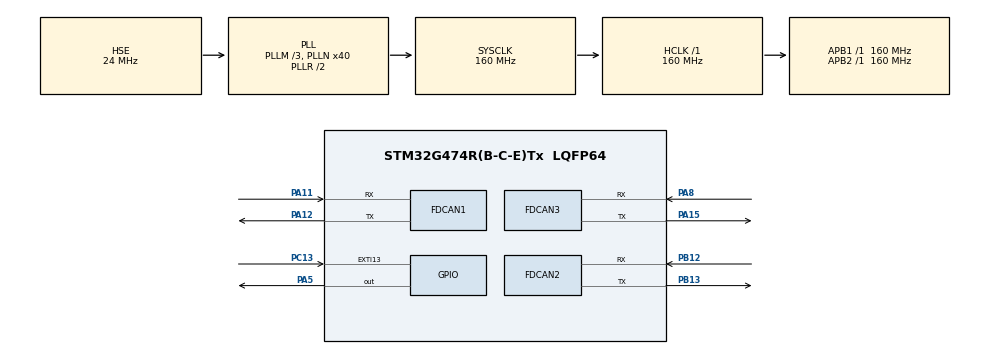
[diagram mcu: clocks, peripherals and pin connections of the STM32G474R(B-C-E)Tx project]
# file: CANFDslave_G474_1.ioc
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FDCAN1.CalculateBaudRateNominal=1000000
FDCAN1.CalculateTimeBitNominal=1000
FDCAN1.CalculateTimeQuantumNominal=50.0
FDCAN1.DataPrescaler=1
FDCAN1.DataSyncJumpWidth=2
FDCAN1.DataTimeSeg1=13
FDCAN1.DataTimeSeg2=2
FDCAN1.FrameFormat=FDCAN_FRAME_FD_BRS
FDCAN1.NominalPrescaler=4
FDCAN1.NominalSyncJumpWidth=4
FDCAN1.NominalTimeSeg1=15
FDCAN1.NominalTimeSeg2=4
FDCAN1.ProtocolException=ENABLE
FDCAN1.StdFiltersNbr=1
FDCAN2.CalculateBaudRateNominal=1000000
FDCAN2.CalculateTimeBitNominal=1000
FDCAN2.CalculateTimeQuantumNominal=50.0
FDCAN2.DataPrescaler=1
FDCAN2.DataSyncJumpWidth=2
FDCAN2.DataTimeSeg1=13
FDCAN2.DataTimeSeg2=2
FDCAN2.FrameFormat=FDCAN_FRAME_FD_BRS
FDCAN2.NominalPrescaler=4
FDCAN2.NominalSyncJumpWidth=4
FDCAN2.NominalTimeSeg1=15
FDCAN2.NominalTimeSeg2=4
FDCAN2.ProtocolException=ENABLE
FDCAN2.StdFiltersNbr=1
FDCAN3.CalculateBaudRateNominal=1000000
FDCAN3.CalculateTimeBitNominal=1000
FDCAN3.CalculateTimeQuantumNominal=50.0
FDCAN3.DataPrescaler=1
FDCAN3.DataSyncJumpWidth=2
FDCAN3.DataTimeSeg1=13
FDCAN3.DataTimeSeg2=2
FDCAN3.FrameFormat=FDCAN_FRAME_FD_BRS
FDCAN3.NominalPrescaler=4
FDCAN3.NominalSyncJumpWidth=4
FDCAN3.NominalTimeSeg1=15
FDCAN3.NominalTimeSeg2=4
FDCAN3.ProtocolException=ENABLE
FDCAN3.StdFiltersNbr=1
Mcu.Family=STM32G4
Mcu.Name=STM32G474R(B-C-E)Tx
Mcu.Package=LQFP64
NUCLEO-G474RE.BUTTON=1
NUCLEO-G474RE.Bsp_Common_DEMO=true
NUCLEO-G474RE.LD2=true
NUCLEO-G474RE.VCP=true
NVIC.EXTI15_10_IRQn=true\:0\:0\:false\:false\:true\:true\:true\:true
NVIC.FDCAN1_IT0_IRQn=true\:0\:0\:false\:false\:true\:true\:true\:true
NVIC.FDCAN1_IT1_IRQn=true\:0\:0\:false\:false\:true\:true\:true\:true
NVIC.FDCAN2_IT0_IRQn=true\:0\:0\:false\:false\:true\:true\:true\:true
NVIC.FDCAN2_IT1_IRQn=true\:0\:0\:false\:false\:true\:true\:true\:true
NVIC.FDCAN3_IT0_IRQn=true\:0\:0\:false\:false\:true\:true\:true\:true
NVIC.FDCAN3_IT1_IRQn=true\:0\:0\:false\:false\:true\:true\:true\:true
NVIC.PriorityGroup=NVIC_PRIORITYGROUP_4
NVIC.RCC_IRQn=true\:0\:0\:false\:false\:true\:true\:false\:true
NVIC.TIM2_IRQn=true\:0\:0\:false\:false\:true\:true\:true\:true
PA11.Mode=FDCAN_Activate
PA11.Signal=FDCAN1_RX
PA12.Mode=FDCAN_Activate
PA12.Signal=FDCAN1_TX
PA13.GPIO_Label=T_SWDIO
PA13.Mode=Serial_Wire
PA13.Signal=SYS_JTMS-SWDIO
PA14.GPIO_Label=T_SWCLK
PA14.Mode=Serial_Wire
PA14.Signal=SYS_JTCK-SWCLK
PA15.Mode=FDCAN_Activate
PA15.Signal=FDCAN3_TX
PA2.Signal=LPUART1_TX
PA3.Signal=LPUART1_RX
PA5.Signal=GPIO_Output
PA8.Mode=FDCAN_Activate
PA8.Signal=FDCAN3_RX
PB12.Mode=FDCAN_Activate
PB12.Signal=FDCAN2_RX
PB13.Mode=FDCAN_Activate
PB13.Signal=FDCAN2_TX
PB3.GPIO_Label=T_SWO
PB3.Signal=SYS_JTDO-SWO
PC13.Signal=GPXTI13
PC14-OSC32_IN.GPIO_Label=RCC_OSC32_IN
PC14-OSC32_IN.Mode=LSE-External-Oscillator
PC14-OSC32_IN.Signal=RCC_OSC32_IN
PC15-OSC32_OUT.GPIO_Label=RCC_OSC32_OUT
PC15-OSC32_OUT.Mode=LSE-External-Oscillator
PC15-OSC32_OUT.Signal=RCC_OSC32_OUT
PF0-OSC_IN.GPIO_Label=RCC_OSC_IN
PF0-OSC_IN.Mode=HSE-External-Oscillator
PF0-OSC_IN.Signal=RCC_OSC_IN
PF1-OSC_OUT.GPIO_Label=RCC_OSC_OUT
PF1-OSC_OUT.Mode=HSE-External-Oscillator
PF1-OSC_OUT.Signal=RCC_OSC_OUT
ProjectManager.HeapSize=0x200
ProjectManager.StackSize=0x400
ProjectManager.TargetToolchain=STM32CubeIDE
RCC.ADC12Freq_Value=160000000
RCC.ADC345Freq_Value=160000000
RCC.AHBFreq_Value=160000000
RCC.APB1Freq_Value=160000000
RCC.APB1TimFreq_Value=160000000
RCC.APB2Freq_Value=160000000
RCC.APB2TimFreq_Value=160000000
RCC.CortexFreq_Value=160000000
RCC.EXTERNAL_CLOCK_VALUE=12288000
RCC.FDCANCLockSelection=RCC_FDCANCLKSOURCE_PLL
RCC.HCLKFreq_Value=160000000
RCC.HSE_VALUE=24000000
RCC.HSI48_VALUE=48000000
RCC.HSI_VALUE=16000000
RCC.PLLM=RCC_PLLM_DIV3
RCC.PLLN=40
RCC.PLLQ=RCC_PLLQ_DIV4
RCC.PLLSourceVirtual=RCC_PLLSOURCE_HSE
RCC.RTCClockSelection=RCC_RTCCLKSOURCE_LSE
RCC.SYSCLKFreq_VALUE=160000000
RCC.SYSCLKSource=RCC_SYSCLKSOURCE_PLLCLK
RCC.USBFreq_Value=80000000
RCC.VCOOutputFreq_Value=320000000
TIM2.Prescaler=169
VP_NUCLEO-G474RE_VS_BSP_COMMON.Mode=COMMON
VP_SYS_VS_DBSignals.Mode=DisableDeadBatterySignals
VP_TIM2_VS_ClockSourceINT.Mode=Internal
VP_TIM2_VS_ClockSourceITR.Mode=TriggerSource_ITR0
board=NUCLEO-G474RE

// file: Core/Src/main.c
/* USER CODE BEGIN Header */
/**
  ******************************************************************************
  * @file           : main.c
  * @brief          : Main program body
  ******************************************************************************
  * @attention
  *
  * Copyright (c) 2025 STMicroelectronics.
  * All rights reserved.
  *
  * This software is licensed under terms that can be found in the LICENSE file
  * in the root directory of this software component.
  * If no LICENSE file comes with this software, it is provided AS-IS.
  *
  ******************************************************************************
  */
/* USER CODE END Header */
#include "main.h"
#include "fdcan.h"
#include "tim.h"
#include "gpio.h"

/* USER CODE BEGIN Includes */
#include <stdio.h>
#include <string.h>
/* USER CODE END Includes */

/* USER CODE BEGIN PD */
#define DEBUG_MODE
#define SystemCoreClock_Hz  160000000U
#define FDCAN_PCLK_Hz       80000000U
#define MegaUnit            1000000U

#define MASTER_ID          0x100

#define SLAVE_ID_BASE      0x200
#define SLAVE_ID_END       0x2FF
#define SLAVE_ID_ECHO      0x300

// CAN slave ID는 0x200 + 지정된 node 번호를 부여
// node1: 0x201, node2: 0x202, ...
// 노드 번호를 매크로로 보드마다 지정
// 자동화된 형태로 SLAVE_ID를 설정하도록 하는 방법 알려줘
#ifndef NODE_NUMBER
  #define NODE_NUMBER  1U // 기본값 1, 빌드 시 -DNODE_NUMBER=x 로 변경 가능
#endif
#define SLAVE_ID         (SLAVE_ID_BASE + NODE_NUMBER)
/* Example: NODE_NUMBER가 3으로 설정된 경우 SLAVE_ID는 0x203이 됨 */
/* Example: NODE_NUMBER가 5으로 설정된 경우 SLAVE_ID는 0x205이 됨 */
// SLAVE_ID가 SLAVE_ID_END를 초과하지 않도록 주의 필요
#if SLAVE_ID > SLAVE_ID_END
  #error "SLAVE_ID exceeds the maximum allowed value. Please check NODE_NUMBER."
#endif

/* USER CODE END PD */

COM_InitTypeDef BspCOMInit;
__IO uint32_t BspButtonState = BUTTON_RELEASED;

/* USER CODE BEGIN PV */
FDCAN_TxHeaderTypeDef TxHeader;
FDCAN_RxHeaderTypeDef RxHeader;

uint8_t TxData[16] = { 0x55, 0xAA, 0x55, 0xAA, 0x55, 0xAA, 0x55, 0xAA, 0x55,
    0xAA, 0x55, 0xAA, 0x55, 0xAA, 0x55, 0xAA };
uint8_t RxData[16] = { 0 };

__IO uint8_t TxCompleteFlag = 0;
__IO uint8_t RxCompleteFlag = 0;

uint32_t tmpCount = 0;

FDCAN_ErrorCountersTypeDef FDCAN_ErrorCount_slave;
FDCAN_ProtocolStatusTypeDef FDCAN_ProtocolStatus_slave;
/* USER CODE END PV */

void SystemClock_Config(void);
/* USER CODE BEGIN PFP */
void canSetInitFilter(void);
void canSetInitInterrupts(void);
void canSetInitTxHeader(void);
void canSetInitTxPayload(void);
void canStart(void);

ErrorStatus canDiagnoseStatus(FDCAN_HandleTypeDef *hfdcan);
HAL_StatusTypeDef canSetupDebugNotifications(FDCAN_HandleTypeDef *hfdcan);
/* USER CODE END PFP */

int main(void)
{

  /* MCU Configuration--------------------------------------------------------*/

  /* Reset of all peripherals, Initializes the Flash interface and the Systick. */
  HAL_Init();

  /* Configure the system clock */
  SystemClock_Config();

  /* Initialize all configured peripherals */
  MX_GPIO_Init();
  MX_FDCAN1_Init();
  MX_FDCAN2_Init();
  MX_TIM2_Init();
  MX_FDCAN3_Init();

  /* Initialize led */
  BSP_LED_Init(LED_GREEN);

  /* Initialize USER push-button, will be used to trigger an interrupt each time it's pressed.*/
  BSP_PB_Init(BUTTON_USER, BUTTON_MODE_EXTI);

  /* Initialize COM1 port (115200, 8 bits (7-bit data + 1 stop bit), no parity */
  BspCOMInit.BaudRate   = 115200;
  BspCOMInit.WordLength = COM_WORDLENGTH_8B;
  BspCOMInit.StopBits   = COM_STOPBITS_1;
  BspCOMInit.Parity     = COM_PARITY_NONE;
  BspCOMInit.HwFlowCtl  = COM_HWCONTROL_NONE;
  if (BSP_COM_Init(COM1, &BspCOMInit) != BSP_ERROR_NONE)
  {
    Error_Handler();
  }

  /* USER CODE BEGIN BSP */

  /* -- Sample board code to send message over COM1 port ---- */
  printf("Welcome to STM32 world !\r\n");

  /* -- Sample board code to switch on led ---- */
  BSP_LED_On(LED_GREEN);

  /* USER CODE END BSP */

  /* Infinite loop */
  /* USER CODE BEGIN WHILE */
  uint32_t tmpSystemClock = HAL_RCC_GetSysClockFreq();
  uint32_t tmpPeripheralClock = HAL_RCCEx_GetPeriphCLKFreq(RCC_PERIPHCLK_FDCAN);

  printf("System Clock frequency = %lu MHz\r\n", tmpSystemClock / 1000000);
  printf("FDCAN Peripheral Clock frequency = %lu MHz\r\n", tmpPeripheralClock / 1000000);
  HAL_Delay(10);

  /* --- Configure FDCAN1 --- */
  /* Configure FDCAN1 filters */
  canSetInitFilter();
  /* Configure FDCAN1 interrupts */
  canSetInitInterrupts();
  /* Configure Tx Headers */
  canSetInitTxHeader();
  /* Configure Tx Payload */
  canSetInitTxPayload();

  /* Start FDCAN1 module */
  canStart();
  while (1)
  {
    /* USER CODE END WHILE */

    /* USER CODE BEGIN 3 */
    if(RxCompleteFlag) {
      RxCompleteFlag = 0;
      // 수신된 메시지 처리
      // 예: 수신된 데이터 출력
      tmpCount++;
      if(tmpCount % 500 == 0) {
        printf("[%lu] FDCAN1 Received ID: 0x%03lX\r\n",tmpCount, RxHeader.Identifier);
      }
    }

    canDiagnoseStatus(&hfdcan1);
  }
  /* USER CODE END 3 */
}

void SystemClock_Config(void)
{
  RCC_OscInitTypeDef RCC_OscInitStruct = {0};
  RCC_ClkInitTypeDef RCC_ClkInitStruct = {0};

  /** Configure the main internal regulator output voltage
  */
  HAL_PWREx_ControlVoltageScaling(PWR_REGULATOR_VOLTAGE_SCALE1_BOOST);

  /** Initializes the RCC Oscillators according to the specified parameters
  * in the RCC_OscInitTypeDef structure.
  */
  RCC_OscInitStruct.OscillatorType = RCC_OSCILLATORTYPE_HSE;
  RCC_OscInitStruct.HSEState = RCC_HSE_ON;
  RCC_OscInitStruct.PLL.PLLState = RCC_PLL_ON;
  RCC_OscInitStruct.PLL.PLLSource = RCC_PLLSOURCE_HSE;
  RCC_OscInitStruct.PLL.PLLM = RCC_PLLM_DIV3;
  RCC_OscInitStruct.PLL.PLLN = 40;
  RCC_OscInitStruct.PLL.PLLP = RCC_PLLP_DIV2;
  RCC_OscInitStruct.PLL.PLLQ = RCC_PLLQ_DIV4;
  RCC_OscInitStruct.PLL.PLLR = RCC_PLLR_DIV2;
  if (HAL_RCC_OscConfig(&RCC_OscInitStruct) != HAL_OK)
  {
    Error_Handler();
  }

  /** Initializes the CPU, AHB and APB buses clocks
  */
  RCC_ClkInitStruct.ClockType = RCC_CLOCKTYPE_HCLK|RCC_CLOCKTYPE_SYSCLK
                              |RCC_CLOCKTYPE_PCLK1|RCC_CLOCKTYPE_PCLK2;
  RCC_ClkInitStruct.SYSCLKSource = RCC_SYSCLKSOURCE_PLLCLK;
  RCC_ClkInitStruct.AHBCLKDivider = RCC_SYSCLK_DIV1;
  RCC_ClkInitStruct.APB1CLKDivider = RCC_HCLK_DIV1;
  RCC_ClkInitStruct.APB2CLKDivider = RCC_HCLK_DIV1;

  if (HAL_RCC_ClockConfig(&RCC_ClkInitStruct, FLASH_LATENCY_4) != HAL_OK)
  {
    Error_Handler();
  }
}

/* USER CODE BEGIN 4 */

void canSetInitFilter(void) {
  FDCAN_FilterTypeDef sFilterConfig;

  sFilterConfig.IdType = FDCAN_STANDARD_ID;
  sFilterConfig.FilterIndex = 0;
  sFilterConfig.FilterType = FDCAN_FILTER_MASK;
  sFilterConfig.FilterConfig = FDCAN_FILTER_TO_RXFIFO0;
  sFilterConfig.FilterID1 = MASTER_ID;
  sFilterConfig.FilterID2 = 0x7FF; // 모든 비트 매칭
  if(HAL_FDCAN_ConfigFilter(&hfdcan1, &sFilterConfig) != HAL_OK) {
    Error_Handler();
  }

  if(HAL_FDCAN_ConfigGlobalFilter(&hfdcan1, FDCAN_REJECT, FDCAN_REJECT, FDCAN_REJECT_REMOTE,
  FDCAN_REJECT_REMOTE) != HAL_OK) {
    Error_Handler();
  }
}

void canSetInitInterrupts(void) {
    /* Activate FDCAN1 RX FIFO 0 new message notification */
    if(HAL_FDCAN_ActivateNotification(&hfdcan1, FDCAN_IT_RX_FIFO0_NEW_MESSAGE, 0) != HAL_OK) {
      Error_Handler();
    }
    /* Setup FDCAN1 debug notifications */
    if(canSetupDebugNotifications(&hfdcan1) != HAL_OK) {
      Error_Handler();
    }
  }

void canSetInitTxHeader(void) {
  //TxHeader.Identifier = SLAVE_ID; // 노드 번호에 따라 다른 ID 설정, ex. 0x201, 0x202, ...
  TxHeader.Identifier = 0x200; // 테스트용으로 마스터 ID로 설정
  TxHeader.IdType = FDCAN_STANDARD_ID;
  TxHeader.TxFrameType = FDCAN_DATA_FRAME;
  TxHeader.DataLength = FDCAN_DLC_BYTES_16;
  TxHeader.ErrorStateIndicator = FDCAN_ESI_ACTIVE;
  TxHeader.BitRateSwitch = FDCAN_BRS_ON;
  TxHeader.FDFormat = FDCAN_FD_CAN;
  TxHeader.TxEventFifoControl = FDCAN_NO_TX_EVENTS;
  TxHeader.MessageMarker = 0;
}

void canSetInitTxPayload(void) {
  /*for (uint8_t i = 0; i < 16; i++) {
    TxData[i] = (uint8_t)(i + NODE_NUMBER); // 노드 번호에 따라 다른 데이터 전송
  }*/
}

void canStart(void) {
  if(HAL_FDCAN_Start(&hfdcan1) != HAL_OK) {
    Error_Handler();
  }
}

void HAL_FDCAN_RxFifo0Callback(FDCAN_HandleTypeDef *hfdcan, uint32_t RxFifo0ITs) {
  if ((RxFifo0ITs & FDCAN_IT_RX_FIFO0_NEW_MESSAGE) != RESET) {
    HAL_FDCAN_GetRxMessage(hfdcan, FDCAN_RX_FIFO0, &RxHeader, RxData);
    RxCompleteFlag = 1;
  }
}

ErrorStatus canDiagnoseStatus(FDCAN_HandleTypeDef *hfdcan) {
  FDCAN_ProtocolStatusTypeDef FDCAN_Status = { 0 };
  FDCAN_ErrorCountersTypeDef FDCAN_Errors = { 0 };
  char instance_char[10] = { 0 };
  uint8_t tmpTxErrCnt = 0;
  uint8_t tmpRxErrCnt = 0;

  // 1. 상태 읽기
  HAL_FDCAN_GetProtocolStatus(hfdcan, &FDCAN_Status);
  HAL_FDCAN_GetErrorCounters(hfdcan, &FDCAN_Errors);
  tmpTxErrCnt = (uint8_t)FDCAN_Errors.TxErrorCnt;
  tmpRxErrCnt = (uint8_t)FDCAN_Errors.RxErrorCnt;

  // 에러가 없으면 조기 리턴 (불필요한 로그 방지, 필요 시 주석 처리)
  if (FDCAN_Status.LastErrorCode == FDCAN_PROTOCOL_ERROR_NONE &&
      FDCAN_Status.Activity != 0 &&
      FDCAN_Errors.TxErrorCnt == 0 && FDCAN_Errors.RxErrorCnt == 0) {
    return SUCCESS;
  }

  /*// 인스턴스 구분 출력
  if (hfdcan->Instance == FDCAN1) strcpy(instance_char, "FDCAN1");*/

  // 2. 심각도 순서로 버스 상태 체크 (Bus-Off -> Passive -> Warning)
  if (FDCAN_Status.BusOff) {
    return ERROR;
    //printf("[%s][CRITICAL] Bus-Off (Comm. Disabled)\r\n", instance_char);
    // Bus-Off 복구 로직 필요 시 여기에 추가 (ex. HAL_FDCAN_Init)
  }
  else if (FDCAN_Status.ErrorPassive) {
    return ERROR;
    //printf("[%s][STATE] Error Passive (Only Listen or Passive Flag)\r\n", instance_char);
  }
  else if (FDCAN_Status.Warning) {
    return ERROR;
    //printf("[%s][STATE] Error Warning (TEC or REC >= 96)\r\n", instance_char);
  }
  else {
    return SUCCESS;
    // printf("[STATE] Error Active (Normal)\r\n"); // 필요 시 주석 해제
  }

  // 3. 에러 카운터 상세 출력 (상태 플래그와 무관하게 값 확인)
  if (FDCAN_Errors.TxErrorCnt > 0 || FDCAN_Errors.RxErrorCnt > 0) {
    printf("[%s]Counters - TEC: %d, REC: %d\r\n", instance_char, tmpTxErrCnt, tmpRxErrCnt);
  }

  // 4. Last Error Code (LEC) 분석
  // LEC는 읽으면 클리어되거나 바뀔 수 있으므로 0(No Error)이 아닐 때만 출력
  if (FDCAN_Status.LastErrorCode != FDCAN_PROTOCOL_ERROR_NO_CHANGE &&
      FDCAN_Status.LastErrorCode != FDCAN_PROTOCOL_ERROR_NONE) {

    printf("LEC Reason: ");
    switch (FDCAN_Status.LastErrorCode) {
      case FDCAN_PROTOCOL_ERROR_STUFF: printf("Stuff Error\r\n"); break;
      case FDCAN_PROTOCOL_ERROR_FORM:  printf("Form Error\r\n"); break;
      case FDCAN_PROTOCOL_ERROR_ACK:   printf("Ack Error\r\n"); break;
      case FDCAN_PROTOCOL_ERROR_BIT1:  printf("Bit1 (Recessive sent, Dominant read)\r\n"); break;
      case FDCAN_PROTOCOL_ERROR_BIT0:  printf("Bit0 (Dominant sent, Recessive read)\r\n"); break;
      case FDCAN_PROTOCOL_ERROR_CRC:   printf("CRC Error\r\n"); break;
      default: printf("[%s]Unknown(0x%lx)\r\n", instance_char, FDCAN_Status.LastErrorCode); break;
    }
  }
}

/* 인터럽트 활성화 설정 (Init 단계에 추가 필요) */
HAL_StatusTypeDef canSetupDebugNotifications(FDCAN_HandleTypeDef *hfdcan) {
  // Bus-Off, Error Passive, Protocol Error 발생 시 인터럽트 발생
  HAL_FDCAN_ActivateNotification(hfdcan, FDCAN_IT_BUS_OFF |
                                         FDCAN_IT_ERROR_PASSIVE |
                                         FDCAN_IT_ERROR_WARNING, 0);
  return HAL_OK;
}

void HAL_FDCAN_ErrorStatusCallback(FDCAN_HandleTypeDef *hfdcan, uint32_t ErrorStatusITs) {
  // 실제 구현 시: printf 대신 에러 플래그(global variable)를 set 하고 메인에서 처리 권장
  if (ErrorStatusITs & FDCAN_IT_BUS_OFF) {
    // 긴급 정지 로직
  }
  else if (ErrorStatusITs & FDCAN_IT_ERROR_PASSIVE) {
    // 패시브 상태 로직
  }
  else if (ErrorStatusITs & FDCAN_IT_ERROR_WARNING) {
    // 경고 상태 로직
  }
  // 디버깅 단계에서는 breakpoint를 걸어 상태 확인
}
/* USER CODE END 4 */

/**
  * @brief BSP Push Button callback
  * @param Button Specifies the pressed button
  * @retval None
  */
void BSP_PB_Callback(Button_TypeDef Button)
{
  if (Button == BUTTON_USER)
  {
    BspButtonState = BUTTON_PRESSED;
  }
}

void Error_Handler(void)
{
  /* USER CODE BEGIN Error_Handler_Debug */
  /* User can add his own implementation to report the HAL error return state */
  __disable_irq();

  while (1)
  {
    BSP_LED_Toggle(LED_GREEN);
  }
  /* USER CODE END Error_Handler_Debug */
}
#ifdef USE_FULL_ASSERT
/**
  * @brief  Reports the name of the source file and the source line number
  *         where the assert_param error has occurred.
  * @param  file: pointer to the source file name
  * @param  line: assert_param error line source number
  * @retval None
  */
void assert_failed(uint8_t *file, uint32_t line)
{
  /* USER CODE BEGIN 6 */
    /* User can add his own implementation to report the file name and line number,
    printf("Wrong parameters value: file %s on line %d\r\n", file, line);*/
  /* USER CODE END 6 */
}
#endif /* USE_FULL_ASSERT */
